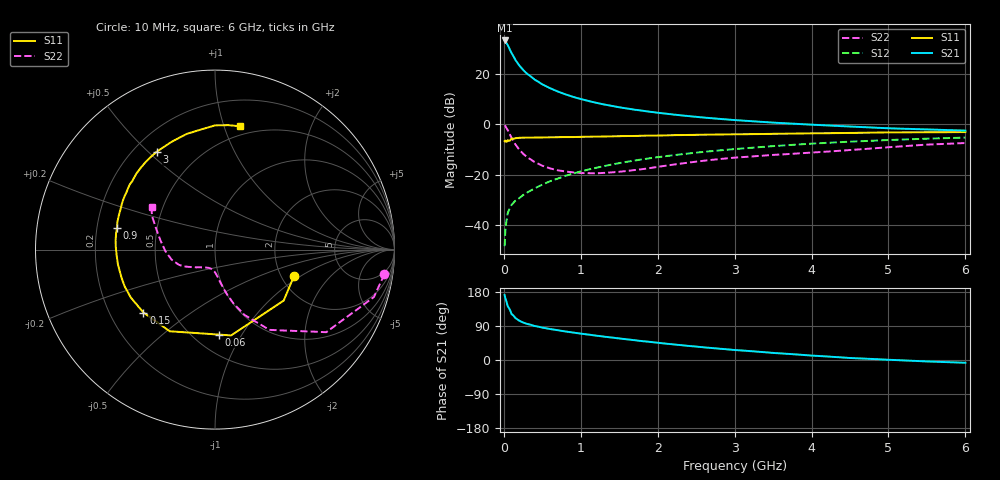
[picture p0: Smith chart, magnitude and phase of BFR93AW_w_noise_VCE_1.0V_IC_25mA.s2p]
! (c) 2017  Infineon Technologies AG, Munich
! Infineon Technologies  Discrete & RF Semiconductors
! BFR93AW
! VCE =  1.0 V,  IC =  25 mA
! Common Emitter S-Parameters:  Jan 2017
# GHz  S  MA  R  50
!  f  S11  S21  S12  S22
! GHz  MAG  ANG  MAG  ANG  MAG  ANG  MAG  ANG
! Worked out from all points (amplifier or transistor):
!   77 points, 10 MHz to 6 GHz, reference 50 ohm
!   highest |S21| = 33.1 dB at 10 MHz (marker M1)
!   |S21| within 3 dB of that: start of sweep to 69.05 MHz
!   unconditionally stable (mu >= 1): 481.8 MHz to 2.526 GHz
!   at 130 MHz: K = 0.54, MSG = 28.7 dB, |S12| = -30.9 dB
!   at 2.2 GHz: K = 1.02, MAG = 7.2 dB, |S12| = -12.2 dB
!   at 6 GHz: K = 0.95, MSG = 1.4 dB, |S12| = -5.3 dB
!   lowest NFmin = 1.66 dB at 450 MHz
!   S11 on the Smith chart (normalised r, x): 10 MHz: 2.33, -0.89; 60 MHz: 0.66, -0.80; 150 MHz: 0.35, -0.34; 900 MHz: 0.29, +0.10; 3 GHz: 0.29, +0.53; 6 GHz: 0.42, +1.13
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0.01  0.464 -18.8  45.36 171.3  0.0039 83.1  0.9537 -8.3
0.02  0.4766 -36.6  44.69 163.0  0.0079 77.2  0.924 -16.6
0.05  0.4865 -79.4  36.84 142.2  0.0175 64.3  0.7721 -36.6
0.06  0.474 -87.4  34.31 139.2  0.019 61.8  0.7205 -39.4
0.1  0.5202 -119.0  25.58 121.6  0.0254 54.8  0.54 -55.9
0.15  0.531 -138.7  18.73 110.7  0.0308 53.5  0.3997 -65.7
0.2  0.5397 -150.3  14.58 103.8  0.0346 55.7  0.3162 -71.1
0.25  0.5435 -157.9  11.92 98.9  0.0398 57.2  0.2624 -74.7
0.3  0.5439 -163.5  10.02 95.4  0.0444 58.7  0.2249 -77.4
0.4  0.5471 -171.3  7.645 89.8  0.054 62.5  0.1789 -81.4
0.5  0.5492 -177.1  6.153 85.5  0.064 64.0  0.1519 -84.6
0.6  0.5533 178.2  5.168 81.8  0.0748 65.6  0.1344 -88.1
0.7  0.556 174.5  4.445 78.6  0.0843 66.4  0.1235 -90.9
0.9  0.5588 167.6  3.482 72.4  0.1062 66.8  0.1122 -97.7
1.1  0.5674 161.6  2.887 67.0  0.1275 66.4  0.1081 -104.9
1.5  0.5818 151.7  2.17 56.9  0.1707 63.9  0.1152 -120.6
2.1  0.6034 138.2  1.624 43.4  0.2341 58.7  0.1514 -139.5
3  0.6347 120.8  1.212 26.4  0.3235 49.3  0.2191 -157.5
3.1  0.636 119.0  1.184 25.0  0.3326 48.1  0.2244 -159.6
4.1  0.6647 102.3  0.966 10.5  0.4219 36.9  0.282 179.3
5.1  0.6927 88.7  0.825 -0.2  0.4944 25.6  0.3603 158.0
6  0.7007 78.6  0.75 -7.4  0.5461 15.8  0.4262 146.1
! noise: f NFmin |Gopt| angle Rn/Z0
0.45  1.66  0.17  171  0.16
0.9  1.93  0.25  -177  0.16
1.9  2.93  0.49  -136  0.25
2.4  3.59  0.55  -125  0.5
